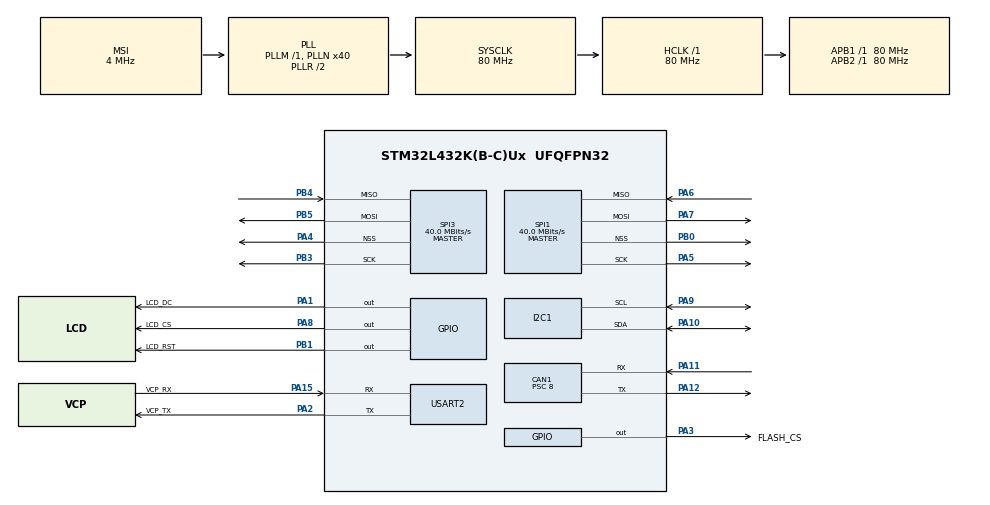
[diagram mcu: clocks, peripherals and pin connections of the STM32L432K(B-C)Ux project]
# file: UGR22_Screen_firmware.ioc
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CAN1.BS1=CAN_BS1_7TQ
CAN1.BS2=CAN_BS2_2TQ
CAN1.CalculateTimeQuantum=100.0
CAN1.Prescaler=8
Dma.Request0=USART2_RX
Dma.Request1=SPI1_TX
Dma.SPI1_TX.1.Direction=DMA_MEMORY_TO_PERIPH
Dma.SPI1_TX.1.Instance=DMA1_Channel3
Dma.SPI1_TX.1.MemDataAlignment=DMA_MDATAALIGN_BYTE
Dma.SPI1_TX.1.MemInc=DMA_MINC_ENABLE
Dma.SPI1_TX.1.Mode=DMA_NORMAL
Dma.SPI1_TX.1.PeriphDataAlignment=DMA_PDATAALIGN_BYTE
Dma.SPI1_TX.1.PeriphInc=DMA_PINC_DISABLE
Dma.SPI1_TX.1.Priority=DMA_PRIORITY_LOW
Dma.USART2_RX.0.Direction=DMA_PERIPH_TO_MEMORY
Dma.USART2_RX.0.Instance=DMA1_Channel6
Dma.USART2_RX.0.MemDataAlignment=DMA_MDATAALIGN_BYTE
Dma.USART2_RX.0.MemInc=DMA_MINC_ENABLE
Dma.USART2_RX.0.Mode=DMA_CIRCULAR
Dma.USART2_RX.0.PeriphDataAlignment=DMA_PDATAALIGN_BYTE
Dma.USART2_RX.0.PeriphInc=DMA_PINC_DISABLE
Dma.USART2_RX.0.Priority=DMA_PRIORITY_LOW
I2C1.Timing=0x10909CEC
Mcu.Family=STM32L4
Mcu.Name=STM32L432K(B-C)Ux
Mcu.Package=UFQFPN32
NVIC.CAN1_RX0_IRQn=true\:0\:0\:false\:false\:true\:true\:true\:true
NVIC.DMA1_Channel3_IRQn=true\:0\:0\:false\:false\:true\:false\:true\:true
NVIC.DMA1_Channel6_IRQn=true\:0\:0\:false\:false\:true\:false\:true\:true
NVIC.PriorityGroup=NVIC_PRIORITYGROUP_4
PA0.GPIO_Label=MCO [High speed clock in]
PA0.Signal=RCC_CK_IN
PA1.GPIO_Label=LCD_DC
PA1.Signal=GPIO_Output
PA10.Mode=I2C
PA10.Signal=I2C1_SDA
PA11.Mode=Master
PA11.Signal=CAN1_RX
PA12.Mode=Master
PA12.Signal=CAN1_TX
PA13\ (JTMS-SWDIO).GPIO_Label=SWDIO
PA13\ (JTMS-SWDIO).Mode=Serial_Wire
PA13\ (JTMS-SWDIO).Signal=SYS_JTMS-SWDIO
PA14\ (JTCK-SWCLK).GPIO_Label=SWCLK
PA14\ (JTCK-SWCLK).Mode=Serial_Wire
PA14\ (JTCK-SWCLK).Signal=SYS_JTCK-SWCLK
PA15\ (JTDI).GPIO_Label=VCP_RX
PA15\ (JTDI).Mode=Asynchronous
PA15\ (JTDI).Signal=USART2_RX
PA2.GPIO_Label=VCP_TX
PA2.Mode=Asynchronous
PA2.Signal=USART2_TX
PA3.GPIO_Label=FLASH_CS
PA3.Signal=GPIO_Output
PA4.Mode=NSS_Signal_Hard_Output
PA4.Signal=SPI3_NSS
PA5.Mode=Full_Duplex_Master
PA5.Signal=SPI1_SCK
PA6.Mode=Full_Duplex_Master
PA6.Signal=SPI1_MISO
PA7.Mode=Full_Duplex_Master
PA7.Signal=SPI1_MOSI
PA8.GPIO_Label=LCD_CS
PA8.Signal=GPIO_Output
PA9.Mode=I2C
PA9.Signal=I2C1_SCL
PB0.Mode=NSS_Signal_Hard_Output
PB0.Signal=SPI1_NSS
PB1.GPIO_Label=LCD_RST
PB1.Signal=GPIO_Output
PB3\ (JTDO-TRACESWO).Mode=Full_Duplex_Master
PB3\ (JTDO-TRACESWO).Signal=SPI3_SCK
PB4\ (NJTRST).Mode=Full_Duplex_Master
PB4\ (NJTRST).Signal=SPI3_MISO
PB5.Mode=Full_Duplex_Master
PB5.Signal=SPI3_MOSI
PC14-OSC32_IN\ (PC14).Mode=LSE-External-Oscillator
PC14-OSC32_IN\ (PC14).Signal=RCC_OSC32_IN
PC15-OSC32_OUT\ (PC15).Mode=LSE-External-Oscillator
PC15-OSC32_OUT\ (PC15).Signal=RCC_OSC32_OUT
ProjectManager.HeapSize=0x200
ProjectManager.StackSize=0x400
ProjectManager.TargetToolchain=STM32CubeIDE
RCC.ADCFreq_Value=16000000
RCC.AHBFreq_Value=80000000
RCC.APB1Freq_Value=80000000
RCC.APB1TimFreq_Value=80000000
RCC.APB2Freq_Value=80000000
RCC.APB2TimFreq_Value=80000000
RCC.CortexFreq_Value=80000000
RCC.HCLKFreq_Value=80000000
RCC.HSE_VALUE=8000000
RCC.HSI16_VALUE=16000000
RCC.HSI48_VALUE=48000000
RCC.HSI_VALUE=16000000
RCC.MSI_VALUE=4000000
RCC.PLLMUL=RCC_PLLMUL_4
RCC.PLLN=40
RCC.SYSCLKFreq_VALUE=80000000
RCC.SYSCLKSource=RCC_SYSCLKSOURCE_PLLCLK
RCC.USBFreq_Value=16000000
RCC.VCOOutputFreq_Value=160000000
SPI1.BaudRatePrescaler=SPI_BAUDRATEPRESCALER_2
SPI1.CalculateBaudRate=40.0 MBits/s
SPI1.DataSize=SPI_DATASIZE_8BIT
SPI1.Direction=SPI_DIRECTION_2LINES
SPI1.Mode=SPI_MODE_MASTER
SPI1.VirtualNSS=VM_NSSHARD
SPI1.VirtualType=VM_MASTER
SPI3.BaudRatePrescaler=SPI_BAUDRATEPRESCALER_2
SPI3.CalculateBaudRate=40.0 MBits/s
SPI3.DataSize=SPI_DATASIZE_8BIT
SPI3.Direction=SPI_DIRECTION_2LINES
SPI3.Mode=SPI_MODE_MASTER
SPI3.NSSPMode=SPI_NSS_PULSE_ENABLE
SPI3.VirtualNSS=VM_NSSHARD
SPI3.VirtualType=VM_MASTER
USART2.VirtualMode-Asynchronous=VM_ASYNC
VP_RCC_LSE.Mode=CRS SYNC Source LSE
board=NUCLEO-L432KC

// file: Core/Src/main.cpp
/* USER CODE BEGIN Header */
/**
  ******************************************************************************
  * @file           : main.c
  * @brief          : Main program body
  ******************************************************************************
  * @attention
  *
  * <h2><center>&copy; Copyright (c) 2020 STMicroelectronics.
  * All rights reserved.</center></h2>
  *
  * This software component is licensed by ST under BSD 3-Clause license,
  * the "License"; You may not use this file except in compliance with the
  * License. You may obtain a copy of the License at:
  *                        opensource.org/licenses/BSD-3-Clause
  *
  ******************************************************************************
  */
/* USER CODE END Header */
#include "main.h"

/* USER CODE BEGIN Includes */
//extern "C" {
//#include "MY_ILI9341.h"
//}
#include "S25FL.h"
#include "UGRScreen.h"
#include "UGRScreenField.h"
#include "FreeSans35pt7b.h"
#include "FreeSerifBold18pt7b.h"
#include "logo.c"

#define CANID 0x2000
#define BACKING_COLOUR COLOR_BLACK // Not Linked to UGRScreenField Define
/* USER CODE END Includes */

/* USER CODE BEGIN PTD */

uint8_t buf[ILI9341_WIDTH*2];

uint8_t col_ready = 0;
uint8_t SPI_DMA_BUSY = 0;

struct DTA_CAN_Data {
  // Massively Simplified
  int16_t waterTemp = 0;
  int16_t cellTemp = 0;
  int16_t stateOfCharge = 0;
};

struct DTA_CAN_Data ecuData;

CAN_RxHeaderTypeDef pRxHeader; //declare header for message reception
CAN_RxHeaderTypeDef rxCopy;
uint8_t rxData[8];

/* USER CODE END PTD */

CAN_HandleTypeDef hcan1;

I2C_HandleTypeDef hi2c1;

SPI_HandleTypeDef hspi1;
SPI_HandleTypeDef hspi3;
DMA_HandleTypeDef hdma_spi1_tx;

UART_HandleTypeDef huart2;
DMA_HandleTypeDef hdma_usart2_rx;

/* USER CODE BEGIN PV */

void HAL_UART_RxHalfCpltCallback(UART_HandleTypeDef *huart)
{
//	col_ready = 1;
	HAL_SPI_Transmit_DMA(&hspi3, buf, ILI9341_WIDTH);
}

void HAL_UART_RxCpltCallback(UART_HandleTypeDef *huart)
{
//	col_ready = 2;
	HAL_SPI_Transmit_DMA(&hspi3, buf+ILI9341_WIDTH, ILI9341_WIDTH);
}

void HAL_SPI_TxCpltCallback(SPI_HandleTypeDef *hspi)
{
	col_ready++;
}

void HAL_CAN_RxFifo0MsgPendingCallback(CAN_HandleTypeDef *hcan)
{
	HAL_CAN_GetRxMessage(&hcan1, CAN_RX_FIFO0, &pRxHeader, rxData);
	//When in filter list mode, can hearders have no info for some reason, other than what item of the list they met, so looking for ID doesnt work

  // CAN HANDLER
  if(pRxHeader.ExtId == CANID){
    ecuData.waterTemp = rxData[1] << 8 | rxData[0];
    ecuData.cellTemp = rxData[3] << 8 | rxData[2];
    ecuData.stateOfCharge = rxData[5] << 8 | rxData[4];
  }

}

/* USER CODE END PV */

void SystemClock_Config(void);
static void MX_GPIO_Init(void);
static void MX_DMA_Init(void);
static void MX_USART2_UART_Init(void);
static void MX_SPI3_Init(void);
static void MX_SPI1_Init(void);
static void MX_CAN1_Init(void);
static void MX_I2C1_Init(void);

/* USER CODE BEGIN 0 */
S25FL flash;

CAN_FilterTypeDef sFilterConfig; //declare CAN filter structure

void drawGrid(){
	for(int w = 20; w < 240; w+= 80){
		ILI9341_drawLine(0, w, 319, w, COLOR_RED);
	}
	for(int h = 20; h < 320; h+= 80){
		ILI9341_drawLine(h, 0, h, 239, COLOR_RED);
	}
}

void decompress_rle(const uint8_t* compressed_data, uint16_t* decompressed_data, uint32_t compressed_size) {
    uint32_t index = 0;
    uint32_t decompressed_index = 0;
    while (index < compressed_size) {
        uint16_t value = (compressed_data[index] << 8) | compressed_data[index + 1];
        uint16_t count = (compressed_data[index + 2] << 8) | compressed_data[index + 3];
        for (uint16_t i = 0; i < count; ++i) {
            decompressed_data[decompressed_index++] = value;
        }
        index += 4;
    }
}

/**
  * @brief Driver Function for Drawing Predefined Logo from Given Position
  * @retval void
  * Last Edited: 28 May 2024, Stefan
  */

void display_logo(uint32_t xpos, uint32_t ypos) {
    uint16_t* decompressed_data = (uint16_t*)malloc(image_width * image_height * sizeof(uint16_t));
    decompress_rle(compressed_data, decompressed_data, sizeof(compressed_data));

    ILI9341_SetCursorPosition(xpos, ypos, xpos + image_width - 1, ypos + image_height - 1);
    HAL_GPIO_WritePin(LCD_DC_GPIO_Port, LCD_DC_Pin, GPIO_PIN_SET);
    HAL_SPI_Transmit_DMA(&hspi1, (uint8_t*)decompressed_data, image_width * image_height * 2);  // For RGB565, each pixel is 2 bytes

    while (HAL_SPI_GetState(&hspi1) != HAL_SPI_STATE_READY);  // Wait for the SPI

    free(decompressed_data); // Memory Cleanup
}

/* USER CODE END 0 */

int main(void)
{

  /* MCU Configuration--------------------------------------------------------*/

  /* Reset of all peripherals, Initializes the Flash interface and the Systick. */
  HAL_Init();

  /* Configure the system clock */
  SystemClock_Config();

  /* Initialize all configured peripherals */
  MX_GPIO_Init();
  MX_DMA_Init();
  MX_USART2_UART_Init();
  MX_SPI3_Init();
  MX_SPI1_Init();
  MX_CAN1_Init();
  MX_I2C1_Init();
  /* USER CODE BEGIN 2 */

  //Init LCD
  UGR_Screen screen = UGR_Screen(&hspi1, LCD_CS_GPIO_Port, LCD_CS_Pin, LCD_DC_GPIO_Port, LCD_DC_Pin, LCD_RST_GPIO_Port, LCD_RST_Pin);

  //Init Flash
  flash = S25FL(&hspi3, FLASH_CS_GPIO_Port, FLASH_CS_Pin);
  flash.begin();

  //DEBUG print flash max address
  uint32_t maxadd = flash.getMaxAddress();
  char str[128];
  sprintf(str, "maxadd: %lu\n\r", maxadd);
  HAL_UART_Transmit(&huart2, (uint8_t*)str, strlen(str), HAL_MAX_DELAY);

  //CAN test code
  //So in 32 bit mode you have to split the 32 bit filter ID into 2 16 bit segments, to be put into IdHigh and IdLow... which are both 32 bit??? REEEE
  	uint32_t canFiltMask 	= 0x1FFFFFF0;
  	uint32_t canFiltMask_STD = canFiltMask & 0x7FF; //Separate mask into its standard and extended parts
  	uint32_t canFiltMask_IDE = canFiltMask >> 11;
  	uint32_t canFiltID 		= 0x2000;
  	uint32_t canFiltID_STD = canFiltID & 0x7FF; //Separate ID into its standard and extended parts
	uint32_t canFiltID_IDE = canFiltID >> 11;

	sFilterConfig.FilterFIFOAssignment=CAN_FILTER_FIFO0; //set fifo assignment
	sFilterConfig.FilterBank = 0;
	sFilterConfig.FilterIdHigh = (canFiltID_STD << 5) & (canFiltID_IDE >> 13);
    sFilterConfig.FilterIdLow =  (canFiltID_IDE << 3) & 0x4;
	sFilterConfig.FilterMaskIdHigh = (canFiltMask_STD << 5) & (canFiltMask_IDE >> 13);
	sFilterConfig.FilterMaskIdLow =  (canFiltMask_IDE << 3) & 0x4;
	sFilterConfig.FilterScale = CAN_FILTERSCALE_32BIT; //set filter scale
	sFilterConfig.FilterMode = CAN_FILTERMODE_IDMASK;
	sFilterConfig.FilterActivation=ENABLE;

	HAL_CAN_ConfigFilter(&hcan1, &sFilterConfig); //configure CAN filter

	HAL_CAN_Start(&hcan1); //start CAN
	HAL_CAN_ActivateNotification(&hcan1, CAN_IT_RX_FIFO0_MSG_PENDING); //enable interrupts

  /* USER CODE END 2 */

  /* Infinite loop */
  /* USER CODE BEGIN WHILE */

  // Essentially chooses what our background colour is
  ILI9341_Fill(BACKING_COLOUR);

  display_logo(150,150); // 320 max width - 170 Logo width, 150 is picked arbitrarily based on what looked good

  // Initialising and Setting Screen Fields across the Display
  UGR_ScreenField waterTempTitleField = UGR_ScreenField(2, 0, "WATER T", FreeSerifBold18pt7b, &screen);
  UGR_ScreenField waterTempField = UGR_ScreenField(10, 40, "", FreeSans35pt7b, &screen);

  UGR_ScreenField cellTempTitleField = UGR_ScreenField(2, 140, "CELL T", FreeSerifBold18pt7b, &screen);
  UGR_ScreenField cellTempField = UGR_ScreenField(10, 180, "", FreeSans35pt7b, &screen);

  UGR_ScreenField stateOfChargeTitleField = UGR_ScreenField(190, 0, "SoC %", FreeSerifBold18pt7b, &screen);
  UGR_ScreenField stateOfChargeField = UGR_ScreenField(195, 40, "", FreeSans35pt7b, &screen);
  stateOfChargeField.setColour(COLOR_WHITE);

  // Used like a buffer for data writing into screens
  char tmp_str[9];

  // Temp Data
  ecuData.waterTemp = 52;
  ecuData.cellTemp = 30;
  ecuData.stateOfCharge = 85;

  while (1)
  {

	 // Shutdown Functionality
    if (ecuData.waterTemp > 50 || ecuData.cellTemp > 60) {
       drawGrid();
       ILI9341_Fill(COLOR_RED); // This doesnt work as intended without drawing the grid before
       	   	   	   	   	   	   	// I don't know why
       HAL_Delay(20000);        // 20s freeze, means we don't need to restart screen post shutdown
    }

    uint16_t waterTempColour = (ecuData.waterTemp < 40) ? COLOR_WHITE :
                              (ecuData.waterTemp < 45) ? COLOR_ORANGE :
                                                         COLOR_RED;
    waterTempField.setColour(waterTempColour);

    uint16_t cellTempColour = (ecuData.cellTemp < 40) ? COLOR_WHITE :
                             (ecuData.cellTemp < 45) ? COLOR_ORANGE :
                                                       COLOR_RED;
    cellTempField.setColour(cellTempColour);

    sprintf(tmp_str, "%d", ecuData.waterTemp);
    waterTempField.update(tmp_str);

    sprintf(tmp_str, "%d", ecuData.cellTemp);
    cellTempField.update(tmp_str);

    sprintf(tmp_str, "%d", ecuData.stateOfCharge);
    stateOfChargeField.update(tmp_str);

    /* USER CODE END WHILE */

  }
}

void SystemClock_Config(void)
{
  RCC_OscInitTypeDef RCC_OscInitStruct = {0};
  RCC_ClkInitTypeDef RCC_ClkInitStruct = {0};
  RCC_PeriphCLKInitTypeDef PeriphClkInit = {0};
  RCC_CRSInitTypeDef RCC_CRSInitStruct = {0};

  /** Configure LSE Drive Capability
  */
  HAL_PWR_EnableBkUpAccess();
  __HAL_RCC_LSEDRIVE_CONFIG(RCC_LSEDRIVE_LOW);
  /** Initializes the RCC Oscillators according to the specified parameters
  * in the RCC_OscInitTypeDef structure.
  */
  RCC_OscInitStruct.OscillatorType = RCC_OSCILLATORTYPE_LSE|RCC_OSCILLATORTYPE_MSI;
  RCC_OscInitStruct.LSEState = RCC_LSE_ON;
  RCC_OscInitStruct.MSIState = RCC_MSI_ON;
  RCC_OscInitStruct.MSICalibrationValue = 0;
  RCC_OscInitStruct.MSIClockRange = RCC_MSIRANGE_6;
  RCC_OscInitStruct.PLL.PLLState = RCC_PLL_ON;
  RCC_OscInitStruct.PLL.PLLSource = RCC_PLLSOURCE_MSI;
  RCC_OscInitStruct.PLL.PLLM = 1;
  RCC_OscInitStruct.PLL.PLLN = 40;
  RCC_OscInitStruct.PLL.PLLP = RCC_PLLP_DIV7;
  RCC_OscInitStruct.PLL.PLLQ = RCC_PLLQ_DIV2;
  RCC_OscInitStruct.PLL.PLLR = RCC_PLLR_DIV2;
  if (HAL_RCC_OscConfig(&RCC_OscInitStruct) != HAL_OK)
  {
    Error_Handler();
  }
  /** Initializes the CPU, AHB and APB buses clocks
  */
  RCC_ClkInitStruct.ClockType = RCC_CLOCKTYPE_HCLK|RCC_CLOCKTYPE_SYSCLK
                              |RCC_CLOCKTYPE_PCLK1|RCC_CLOCKTYPE_PCLK2;
  RCC_ClkInitStruct.SYSCLKSource = RCC_SYSCLKSOURCE_PLLCLK;
  RCC_ClkInitStruct.AHBCLKDivider = RCC_SYSCLK_DIV1;
  RCC_ClkInitStruct.APB1CLKDivider = RCC_HCLK_DIV1;
  RCC_ClkInitStruct.APB2CLKDivider = RCC_HCLK_DIV1;

  if (HAL_RCC_ClockConfig(&RCC_ClkInitStruct, FLASH_LATENCY_4) != HAL_OK)
  {
    Error_Handler();
  }
  PeriphClkInit.PeriphClockSelection = RCC_PERIPHCLK_USART2|RCC_PERIPHCLK_I2C1;
  PeriphClkInit.Usart2ClockSelection = RCC_USART2CLKSOURCE_PCLK1;
  PeriphClkInit.I2c1ClockSelection = RCC_I2C1CLKSOURCE_PCLK1;
  if (HAL_RCCEx_PeriphCLKConfig(&PeriphClkInit) != HAL_OK)
  {
    Error_Handler();
  }
  /** Configure the main internal regulator output voltage
  */
  if (HAL_PWREx_ControlVoltageScaling(PWR_REGULATOR_VOLTAGE_SCALE1) != HAL_OK)
  {
    Error_Handler();
  }
  /** Enable MSI Auto calibration
  */
  HAL_RCCEx_EnableMSIPLLMode();
  /** Enable the SYSCFG APB clock
  */
  __HAL_RCC_CRS_CLK_ENABLE();
  /** Configures CRS
  */
  RCC_CRSInitStruct.Prescaler = RCC_CRS_SYNC_DIV1;
  RCC_CRSInitStruct.Source = RCC_CRS_SYNC_SOURCE_LSE;
  RCC_CRSInitStruct.Polarity = RCC_CRS_SYNC_POLARITY_RISING;
  RCC_CRSInitStruct.ReloadValue = __HAL_RCC_CRS_RELOADVALUE_CALCULATE(48000000,32768);
  RCC_CRSInitStruct.ErrorLimitValue = 34;
  RCC_CRSInitStruct.HSI48CalibrationValue = 32;

  HAL_RCCEx_CRSConfig(&RCC_CRSInitStruct);
}

static void MX_CAN1_Init(void)
{

  hcan1.Instance = CAN1;
  hcan1.Init.Prescaler = 8;
  hcan1.Init.Mode = CAN_MODE_NORMAL;
  hcan1.Init.SyncJumpWidth = CAN_SJW_1TQ;
  hcan1.Init.TimeSeg1 = CAN_BS1_7TQ;
  hcan1.Init.TimeSeg2 = CAN_BS2_2TQ;
  hcan1.Init.TimeTriggeredMode = DISABLE;
  hcan1.Init.AutoBusOff = DISABLE;
  hcan1.Init.AutoWakeUp = DISABLE;
  hcan1.Init.AutoRetransmission = DISABLE;
  hcan1.Init.ReceiveFifoLocked = DISABLE;
  hcan1.Init.TransmitFifoPriority = DISABLE;
  if (HAL_CAN_Init(&hcan1) != HAL_OK)
  {
    Error_Handler();
  }

}

static void MX_I2C1_Init(void)
{

  hi2c1.Instance = I2C1;
  hi2c1.Init.Timing = 0x10909CEC;
  hi2c1.Init.OwnAddress1 = 0;
  hi2c1.Init.AddressingMode = I2C_ADDRESSINGMODE_7BIT;
  hi2c1.Init.DualAddressMode = I2C_DUALADDRESS_DISABLE;
  hi2c1.Init.OwnAddress2 = 0;
  hi2c1.Init.OwnAddress2Masks = I2C_OA2_NOMASK;
  hi2c1.Init.GeneralCallMode = I2C_GENERALCALL_DISABLE;
  hi2c1.Init.NoStretchMode = I2C_NOSTRETCH_DISABLE;
  if (HAL_I2C_Init(&hi2c1) != HAL_OK)
  {
    Error_Handler();
  }
  /** Configure Analogue filter
  */
  if (HAL_I2CEx_ConfigAnalogFilter(&hi2c1, I2C_ANALOGFILTER_ENABLE) != HAL_OK)
  {
    Error_Handler();
  }
  /** Configure Digital filter
  */
  if (HAL_I2CEx_ConfigDigitalFilter(&hi2c1, 0) != HAL_OK)
  {
    Error_Handler();
  }

}

static void MX_SPI1_Init(void)
{

  /* SPI1 parameter configuration*/
  hspi1.Instance = SPI1;
  hspi1.Init.Mode = SPI_MODE_MASTER;
  hspi1.Init.Direction = SPI_DIRECTION_2LINES;
  hspi1.Init.DataSize = SPI_DATASIZE_8BIT;
  hspi1.Init.CLKPolarity = SPI_POLARITY_LOW;
  hspi1.Init.CLKPhase = SPI_PHASE_1EDGE;
  hspi1.Init.NSS = SPI_NSS_HARD_OUTPUT;
  hspi1.Init.BaudRatePrescaler = SPI_BAUDRATEPRESCALER_2;
  hspi1.Init.FirstBit = SPI_FIRSTBIT_MSB;
  hspi1.Init.TIMode = SPI_TIMODE_DISABLE;
  hspi1.Init.CRCCalculation = SPI_CRCCALCULATION_DISABLE;
  hspi1.Init.CRCPolynomial = 7;
  hspi1.Init.CRCLength = SPI_CRC_LENGTH_DATASIZE;
  hspi1.Init.NSSPMode = SPI_NSS_PULSE_ENABLE;
  if (HAL_SPI_Init(&hspi1) != HAL_OK)
  {
    Error_Handler();
  }

}

static void MX_SPI3_Init(void)
{

  /* SPI3 parameter configuration*/
  hspi3.Instance = SPI3;
  hspi3.Init.Mode = SPI_MODE_MASTER;
  hspi3.Init.Direction = SPI_DIRECTION_2LINES;
  hspi3.Init.DataSize = SPI_DATASIZE_8BIT;
  hspi3.Init.CLKPolarity = SPI_POLARITY_LOW;
  hspi3.Init.CLKPhase = SPI_PHASE_1EDGE;
  hspi3.Init.NSS = SPI_NSS_HARD_OUTPUT;
  hspi3.Init.BaudRatePrescaler = SPI_BAUDRATEPRESCALER_2;
  hspi3.Init.FirstBit = SPI_FIRSTBIT_MSB;
  hspi3.Init.TIMode = SPI_TIMODE_DISABLE;
  hspi3.Init.CRCCalculation = SPI_CRCCALCULATION_DISABLE;
  hspi3.Init.CRCPolynomial = 7;
  hspi3.Init.CRCLength = SPI_CRC_LENGTH_DATASIZE;
  hspi3.Init.NSSPMode = SPI_NSS_PULSE_ENABLE;
  if (HAL_SPI_Init(&hspi3) != HAL_OK)
  {
    Error_Handler();
  }

}

static void MX_USART2_UART_Init(void)
{

  huart2.Instance = USART2;
  huart2.Init.BaudRate = 115200;
  huart2.Init.WordLength = UART_WORDLENGTH_8B;
  huart2.Init.StopBits = UART_STOPBITS_1;
  huart2.Init.Parity = UART_PARITY_NONE;
  huart2.Init.Mode = UART_MODE_TX_RX;
  huart2.Init.HwFlowCtl = UART_HWCONTROL_NONE;
  huart2.Init.OverSampling = UART_OVERSAMPLING_16;
  huart2.Init.OneBitSampling = UART_ONE_BIT_SAMPLE_DISABLE;
  huart2.AdvancedInit.AdvFeatureInit = UART_ADVFEATURE_NO_INIT;
  if (HAL_UART_Init(&huart2) != HAL_OK)
  {
    Error_Handler();
  }

}

static void MX_DMA_Init(void)
{

  /* DMA controller clock enable */
  __HAL_RCC_DMA1_CLK_ENABLE();

  /* DMA interrupt init */
  /* DMA1_Channel3_IRQn interrupt configuration */
  HAL_NVIC_SetPriority(DMA1_Channel3_IRQn, 0, 0);
  HAL_NVIC_EnableIRQ(DMA1_Channel3_IRQn);
  /* DMA1_Channel6_IRQn interrupt configuration */
  HAL_NVIC_SetPriority(DMA1_Channel6_IRQn, 0, 0);
  HAL_NVIC_EnableIRQ(DMA1_Channel6_IRQn);

}

static void MX_GPIO_Init(void)
{
  GPIO_InitTypeDef GPIO_InitStruct = {0};

  /* GPIO Ports Clock Enable */
  __HAL_RCC_GPIOC_CLK_ENABLE();
  __HAL_RCC_GPIOA_CLK_ENABLE();
  __HAL_RCC_GPIOB_CLK_ENABLE();

  /*Configure GPIO pin Output Level */
  HAL_GPIO_WritePin(GPIOA, LCD_DC_Pin|FLASH_CS_Pin|LCD_CS_Pin, GPIO_PIN_RESET);

  /*Configure GPIO pin Output Level */
  HAL_GPIO_WritePin(LCD_RST_GPIO_Port, LCD_RST_Pin, GPIO_PIN_RESET);

  /*Configure GPIO pins : LCD_DC_Pin FLASH_CS_Pin LCD_CS_Pin */
  GPIO_InitStruct.Pin = LCD_DC_Pin|FLASH_CS_Pin|LCD_CS_Pin;
  GPIO_InitStruct.Mode = GPIO_MODE_OUTPUT_PP;
  GPIO_InitStruct.Pull = GPIO_NOPULL;
  GPIO_InitStruct.Speed = GPIO_SPEED_FREQ_LOW;
  HAL_GPIO_Init(GPIOA, &GPIO_InitStruct);

  /*Configure GPIO pin : LCD_RST_Pin */
  GPIO_InitStruct.Pin = LCD_RST_Pin;
  GPIO_InitStruct.Mode = GPIO_MODE_OUTPUT_PP;
  GPIO_InitStruct.Pull = GPIO_NOPULL;
  GPIO_InitStruct.Speed = GPIO_SPEED_FREQ_LOW;
  HAL_GPIO_Init(LCD_RST_GPIO_Port, &GPIO_InitStruct);

}

void Error_Handler(void)
{
}

/************************ (C) COPYRIGHT STMicroelectronics *****END OF FILE****/
